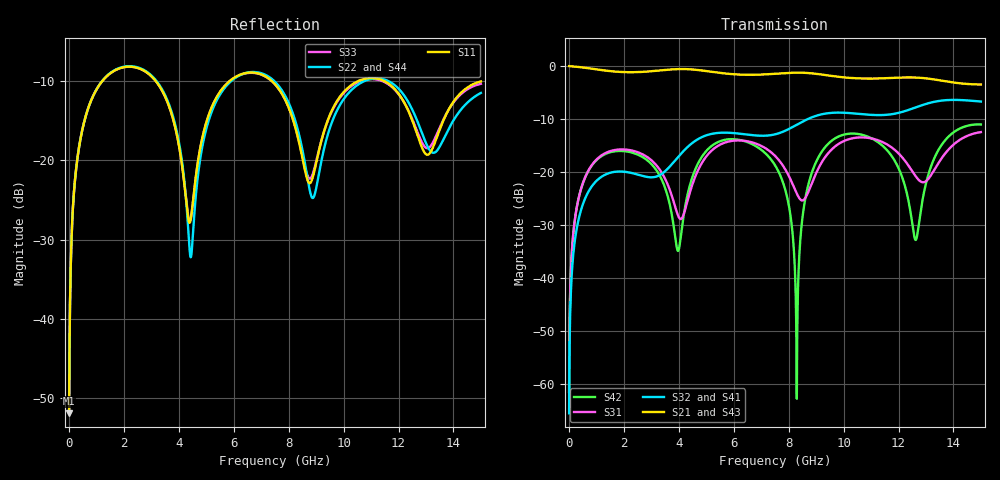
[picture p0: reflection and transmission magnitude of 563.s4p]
! Created with skrf 1.8.0 (http://scikit-rf.org).
# GHz S RI R 50.0
!freq ReS11 ImS11 ReS12 ImS12 ReS13 ImS13
! ReS14 ImS14
! ReS21 ImS21 ReS22 ImS22 ReS23 ImS23
! ReS24 ImS24
! ReS31 ImS31 ReS32 ImS32 ReS33 ImS33
! ReS34 ImS34
! ReS41 ImS41 ReS42 ImS42 ReS43 ImS43
! ReS44 ImS44
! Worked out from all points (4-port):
!   2499 points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, 5 MHz to 15 GHz, reference 50 ohm
!   strongest paths, dB at 5 MHz, 3.476 GHz, 7.19 GHz, 11.1 GHz, 15 GHz:
!     S21: 0.0, -0.7, -1.6, -2.4, -3.5
!     S43: 0.0, -0.7, -1.6, -2.4, -3.5
!     S32: -65.5, -20.0, -13.1, -9.2, -6.7
!     S41: -65.5, -20.0, -13.2, -9.3, -6.8
!     S31: -61.5, -21.0, -15.6, -13.8, -12.5
!     S42: -61.5, -22.7, -16.7, -13.9, -11.0
!   lowest |S11| = -51.9 dB at 5 MHz (marker M1), VSWR 1.01, Z = 50.2 + j0.154 ohm
!   |S11| at or under -10 dB: 3.16 GHz to 5.85 GHz (2.689 GHz wide, 59.7 % of centre); 7.389 GHz to 10.53 GHz (3.146 GHz wide, 35.1 % of centre); 11.48 GHz to end of sweep (the widest 3 of 4)
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0.005  0.00203 0.00154  0.9979 -0.00395  0.000104 0.000833  -0.000101 -0.000518
       0.9979 -0.00395  0.00203 0.00154  -0.000101 -0.000518  0.000104 0.000833
       0.000104 0.000833  -0.000101 -0.000518  0.00203 0.00154  0.9979 -0.00395
       -0.000101 -0.000518  0.000104 0.000833  0.9979 -0.00395  0.00203 0.00154
1.3193  0.2843 0.1706  0.5135 -0.7478  0.1412 0.0522  -0.0943 -0.000266
        0.5135 -0.7478  0.2872 0.1685  -0.0945 -1.62e-06  0.1328 0.0647
        0.1412 0.0522  -0.0945 -1.62e-06  0.2842 0.1707  0.5135 -0.7478
        -0.0943 -0.000266  0.1328 0.0647  0.5135 -0.7478  0.2873 0.1684
4.489371  0.0437 0.0243  -0.9291 -0.0111  -0.0122 0.0747  0.00223 0.1878
          -0.9291 -0.0111  0.0263 0.0136  0.00646 0.1877  0.0372 0.0806
          -0.0122 0.0747  0.00646 0.1877  0.0444 0.0235  -0.9291 -0.0111
          0.00223 0.1878  0.0372 0.0806  -0.9291 -0.0111  0.0258 0.0134
7.328053  0.3009 -0.1172  0.2524 0.8018  0.088 -0.1289  0.1911 -0.1087
          0.2524 0.8018  0.3086 -0.1223  0.1881 -0.1186  0.1034 -0.0856
          0.088 -0.1289  0.1881 -0.1186  0.3011 -0.1137  0.2529 0.8014
          0.1911 -0.1087  0.1034 -0.0856  0.2529 0.8014  0.3094 -0.1261
8.297207  0.1078 -0.102  0.7277 0.4721  -0.0492 -0.0387  0.1508 -0.2353
          0.7277 0.4721  0.1068 -0.1252  0.1388 -0.2428  0.00063 0.000358
          -0.0492 -0.0387  0.1388 -0.2428  0.1124 -0.1003  0.7278 0.4715
          0.1508 -0.2353  0.00063 0.000358  0.7278 0.4715  0.104 -0.1282
11.52355  0.3052 -0.071  -0.0299 -0.7675  0.1128 -0.1477  -0.3365 0.0621
          -0.0299 -0.7675  0.3166 -0.0566  -0.3353 0.0859  0.1255 -0.11
          0.1128 -0.1477  -0.3353 0.0859  0.3025 -0.0647  -0.0321 -0.7672
          -0.3365 0.0621  0.1255 -0.11  -0.0321 -0.7672  0.3197 -0.0638
15  0.3135 0.0211  -0.4447 0.5008  0.2381 -0.00373  0.3931 0.2318
    -0.4447 0.5008  0.2636 0.0363  0.4153 0.2042  0.2811 -0.00461
    0.2381 -0.00373  0.4153 0.2042  0.3031 0.0176  -0.4415 0.5036
    0.3931 0.2318  0.2811 -0.00461  -0.4415 0.5036  0.2758 0.0351
